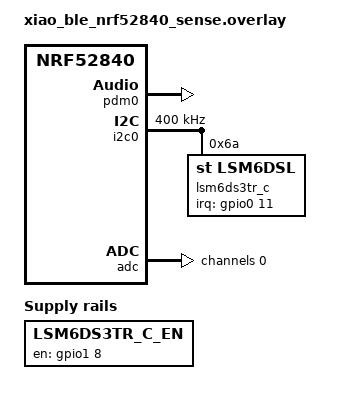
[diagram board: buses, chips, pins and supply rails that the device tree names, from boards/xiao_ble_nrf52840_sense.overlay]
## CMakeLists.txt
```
# USB Microphone for XIAO nRF52840 Sense
cmake_minimum_required(VERSION 3.20.0)

find_package(Zephyr REQUIRED HINTS $ENV{ZEPHYR_BASE})
project(usb_mic_xiao)

target_sources(app PRIVATE src/main.c)
```

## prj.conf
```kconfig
CONFIG_STDOUT_CONSOLE=y
CONFIG_CONSOLE=y
CONFIG_UART_CONSOLE=y
CONFIG_SERIAL=y
CONFIG_PRINTK=y
CONFIG_EARLY_CONSOLE=y
CONFIG_CBPRINTF_FP_SUPPORT=y

#USB related configs
CONFIG_USB_DEVICE_STACK=y
CONFIG_DEPRECATION_TEST=y
CONFIG_USB_DEVICE_PRODUCT="VapeLogger Audio"
CONFIG_USB_DEVICE_VID=0x239A
CONFIG_USB_DEVICE_PID=0x810E
CONFIG_USB_DEVICE_MANUFACTURER="VapeLogger"
CONFIG_USB_DEVICE_INITIALIZE_AT_BOOT=y
CONFIG_USB_DEVICE_STACK_NEXT=n

#LOG subsystem related configs
CONFIG_LOG=y
CONFIG_USB_DRIVER_LOG_LEVEL_ERR=y
CONFIG_USB_DEVICE_LOG_LEVEL_ERR=y

#net buf options
CONFIG_NET_BUF=y

#USB audio related configs
CONFIG_USB_DEVICE_AUDIO=y

#Audio and DMIC configs
CONFIG_AUDIO=y
CONFIG_AUDIO_DMIC=y

# ADC for coil monitoring
CONFIG_ADC=y
CONFIG_ADC_NRFX_SAADC=y

# IMU sensor (LSM6DS3)
CONFIG_I2C=y
CONFIG_SENSOR=y
CONFIG_LSM6DSL=y
```

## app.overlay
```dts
&zephyr_udc0 {
        mic_0 {
                compatible = "usb-audio-mic";
                feature-mute;
                channel-l;
                sample-rate-hz = <48000>;
                resolution = <16>;
        };
};
```

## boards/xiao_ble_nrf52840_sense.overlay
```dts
/*
 * Device tree overlay for XIAO nRF52840 Sense
 * Enables PDM microphone for USB audio, ADC for coil monitoring, and IMU
 */

#include "xiao_ble-pinctrl.dtsi"
#include <zephyr/dt-bindings/i2c/i2c.h>
#include <zephyr/dt-bindings/gpio/nordic-nrf-gpio.h>

/ {
	lsm6ds3tr-c-en {
		compatible = "regulator-fixed-sync", "regulator-fixed";
		enable-gpios = <&gpio1 8 (NRF_GPIO_DRIVE_S0H1 | GPIO_ACTIVE_HIGH)>;
		regulator-name = "LSM6DS3TR_C_EN";
		regulator-boot-on;
		startup-delay-us = <3000>;
	};
};

&pdm0 {
	status = "okay";
	pinctrl-0 = <&pdm0_default>;
	pinctrl-1 = <&pdm0_sleep>;
	pinctrl-names = "default", "sleep";
};

&i2c0 {
	compatible = "nordic,nrf-twim";
	status = "okay";
	pinctrl-0 = <&i2c0_default>;
	pinctrl-1 = <&i2c0_sleep>;
	pinctrl-names = "default", "sleep";
	clock-frequency = <I2C_BITRATE_FAST>;

	lsm6ds3tr_c: lsm6ds3tr-c@6a {
		compatible = "st,lsm6dsl";
		reg = <0x6a>;
		irq-gpios = <&gpio0 11 GPIO_ACTIVE_HIGH>;
		status = "okay";
	};
};

&zephyr_udc0 {
	mic_0 {
		compatible = "usb-audio-mic";
		feature-mute;
		channel-l;
		sample-rate-hz = <48000>;
		resolution = <16>;
	};
};

/* Enable ADC for coil monitoring on A0 */
&adc {
	status = "okay";
	#address-cells = <1>;
	#size-cells = <0>;

	channel@0 {
		reg = <0>;
		zephyr,gain = "ADC_GAIN_1_6";
		zephyr,reference = "ADC_REF_INTERNAL";
		zephyr,acquisition-time = <ADC_ACQ_TIME_DEFAULT>;
		zephyr,input-positive = <NRF_SAADC_AIN0>; /* A0 = P0.02 */
		zephyr,resolution = <12>;
	};
};
```

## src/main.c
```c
/*
 * VapeLogger for XIAO nRF52840 Sense
 * Streams PDM microphone data as USB Audio device
 * Streams ADC coil data via serial UART
 */

#include <zephyr/kernel.h>
#include <zephyr/device.h>
#include <zephyr/audio/dmic.h>
#include <zephyr/usb/usb_device.h>
#include <zephyr/usb/class/usb_audio.h>
#include <zephyr/usb/usb_ch9.h>
#include <zephyr/logging/log.h>
#include <zephyr/drivers/adc.h>
#include <zephyr/drivers/sensor.h>
#include <zephyr/sys/printk.h>

LOG_MODULE_REGISTER(vapelogger, LOG_LEVEL_INF);

#define AUDIO_SAMPLE_RATE 48000
#define SAMPLE_BIT_WIDTH 16
#define BYTES_PER_SAMPLE sizeof(int16_t)
#define BLOCK_SIZE (BYTES_PER_SAMPLE * (AUDIO_SAMPLE_RATE / 100))
#define BLOCK_COUNT 8

K_MEM_SLAB_DEFINE_STATIC(audio_mem_slab, BLOCK_SIZE, BLOCK_COUNT, 4);

static const struct device *dmic_dev;
static const struct device *mic_usb_dev;
static bool audio_running = false;
static bool usb_enabled = false;

/* ADC device for coil monitoring */
static const struct device *adc_dev = NULL;
static struct adc_channel_cfg adc_cfg = {
	.gain = ADC_GAIN_1_6,
	.reference = ADC_REF_INTERNAL,
	.acquisition_time = ADC_ACQ_TIME_DEFAULT,
	.channel_id = 0,
	.input_positive = SAADC_CH_PSELP_PSELP_AnalogInput0, /* A0 */
};
static int16_t adc_sample_buffer;
static struct adc_sequence adc_seq = {
	.channels = BIT(0),
	.buffer = &adc_sample_buffer,
	.buffer_size = sizeof(adc_sample_buffer),
	.resolution = 12,
};

/* IMU device for motion tracking */
static const struct device *imu_dev = NULL;

/* Latest sensor values for combined output */
static uint16_t latest_coil_adc = 0;
static int32_t latest_accel[3] = {0, 0, 0};
static int32_t latest_gyro[3] = {0, 0, 0};
static K_MUTEX_DEFINE(sensor_mutex);

/* DMIC configuration */
static struct pcm_stream_cfg stream = {
	.pcm_width = SAMPLE_BIT_WIDTH,
	.mem_slab = &audio_mem_slab,
};

static struct dmic_cfg cfg = {
	.io = {
		.min_pdm_clk_freq = 1000000,
		.max_pdm_clk_freq = 3500000,
		.min_pdm_clk_dc = 40,
		.max_pdm_clk_dc = 60,
	},
	.streams = &stream,
	.channel = {
		.req_num_streams = 1,
	},
};

/* USB device status callback */
static void usb_status_cb(enum usb_dc_status_code status, const uint8_t *param)
{
	printk("USB status: %d\n", status);
	LOG_INF("USB status changed: %d", status);
	
	switch (status) {
	case USB_DC_CONNECTED:
		printk("USB connected\n");
		break;
	case USB_DC_CONFIGURED:
		printk("USB configured - waiting for host to request audio\n");
		LOG_INF("USB configured - device ready");
		break;
	case USB_DC_DISCONNECTED:
		printk("USB disconnected\n");
		usb_enabled = false;
		if (audio_running && dmic_dev) {
			dmic_trigger(dmic_dev, DMIC_TRIGGER_STOP);
			audio_running = false;
		}
		break;
	default:
		break;
	}
}

/* USB Audio callbacks */
static void data_request(const struct device *dev)
{
	if (!usb_enabled) {
		printk("Host requesting audio - starting DMIC\n");
		LOG_INF("USB audio stream enabled by host");
		
		/* Start DMIC streaming now that host wants data */
		if (dmic_dev && !audio_running) {
			int ret = dmic_trigger(dmic_dev, DMIC_TRIGGER_START);
			if (ret == 0) {
				audio_running = true;
				printk("DMIC started successfully\n");
				LOG_INF("Audio streaming started");
			} else {
				printk("DMIC start failed: %d\n", ret);
				LOG_ERR("DMIC trigger failed: %d", ret);
			}
		}
		usb_enabled = true;
	}
}

static void feature_update(const struct device *dev,
                           const struct usb_audio_fu_evt *evt)
{
	LOG_INF("Control selector %d for channel %d updated",
		evt->cs, evt->channel);
}

static const struct usb_audio_ops mic_ops = {
	.data_request_cb = data_request,
	.feature_update_cb = feature_update,
};

/* Thread to read PDM data and send to USB */
static void audio_thread(void *arg1, void *arg2, void *arg3)
{
	ARG_UNUSED(arg1);
	ARG_UNUSED(arg2);
	ARG_UNUSED(arg3);

	void *buffer;
	uint32_t size;
	int ret;
	uint32_t count = 0;

	while (1) {
		if (!audio_running || !usb_enabled) {
			k_sleep(K_MSEC(100));
			continue;
		}

		ret = dmic_read(dmic_dev, 0, &buffer, &size, 1000);
		if (ret < 0) {
			if (ret != -EAGAIN) {
				LOG_ERR("DMIC read failed: %d", ret);
			}
			k_sleep(K_MSEC(1));
			continue;
		}

		if ((count++ % 100) == 0) {
			LOG_INF("Read %d bytes from DMIC, sending to USB", size);
		}

		ret = usb_audio_send(mic_usb_dev, buffer, size);
		if (ret < 0) {
			if ((count % 100) == 0) {
				LOG_ERR("USB audio send failed: %d", ret);
			}
		}

		k_mem_slab_free(&audio_mem_slab, buffer);
	}
}

K_THREAD_DEFINE(audio_tid, 2048, audio_thread, NULL, NULL, NULL, 7, 0, 0);

/* Thread to read ADC and update shared state */
static void adc_thread(void *arg1, void *arg2, void *arg3)
{
	ARG_UNUSED(arg1);
	ARG_UNUSED(arg2);
	ARG_UNUSED(arg3);

	uint16_t adc_val;
	int ret;

	/* Wait for system to stabilize and ADC to be initialized */
	k_sleep(K_SECONDS(3));

	/* Check if ADC was initialized */
	if (adc_dev == NULL) {
		LOG_WRN("ADC not initialized, thread exiting");
		return;
	}

	LOG_INF("ADC monitoring started");

	while (1) {
		ret = adc_read(adc_dev, &adc_seq);
		if (ret < 0) {
			LOG_ERR("ADC read failed: %d", ret);
		} else {
			adc_val = (uint16_t)adc_sample_buffer;
			k_mutex_lock(&sensor_mutex, K_FOREVER);
			latest_coil_adc = adc_val;
			k_mutex_unlock(&sensor_mutex);
		}

		k_sleep(K_MSEC(50));  /* Match IMU rate */
	}
}

K_THREAD_DEFINE(adc_tid, 1024, adc_thread, NULL, NULL, NULL, 8, 0, 0);

/* Thread to read IMU and output combined data to serial */
static void imu_thread(void *arg1, void *arg2, void *arg3)
{
	ARG_UNUSED(arg1);
	ARG_UNUSED(arg2);
	ARG_UNUSED(arg3);

	struct sensor_value accel_x, accel_y, accel_z;
	struct sensor_value gyro_x, gyro_y, gyro_z;
	int ret;

	/* Wait for system to stabilize and IMU to be initialized */
	k_sleep(K_SECONDS(3));

	/* Check if IMU was initialized */
	if (imu_dev == NULL) {
		LOG_WRN("IMU not initialized, thread exiting");
		return;
	}

	LOG_INF("IMU monitoring started");

	while (1) {
		ret = sensor_sample_fetch(imu_dev);
		if (ret < 0) {
			LOG_ERR("IMU fetch failed: %d", ret);
			k_sleep(K_MSEC(100));
			continue;
		}

		/* Read accelerometer (m/s²) */
		sensor_channel_get(imu_dev, SENSOR_CHAN_ACCEL_X, &accel_x);
		sensor_channel_get(imu_dev, SENSOR_CHAN_ACCEL_Y, &accel_y);
		sensor_channel_get(imu_dev, SENSOR_CHAN_ACCEL_Z, &accel_z);

		/* Read gyroscope (rad/s) */
		sensor_channel_get(imu_dev, SENSOR_CHAN_GYRO_X, &gyro_x);
		sensor_channel_get(imu_dev, SENSOR_CHAN_GYRO_Y, &gyro_y);
		sensor_channel_get(imu_dev, SENSOR_CHAN_GYRO_Z, &gyro_z);

		/* Convert to integers (multiply by 100 to keep 2 decimal places) */
		int32_t ax = (accel_x.val1 * 100) + (accel_x.val2 / 10000);
		int32_t ay = (accel_y.val1 * 100) + (accel_y.val2 / 10000);
		int32_t az = (accel_z.val1 * 100) + (accel_z.val2 / 10000);
		int32_t gx = (gyro_x.val1 * 100) + (gyro_x.val2 / 10000);
		int32_t gy = (gyro_y.val1 * 100) + (gyro_y.val2 / 10000);
		int32_t gz = (gyro_z.val1 * 100) + (gyro_z.val2 / 10000);

		/* Get latest coil ADC value */
		uint16_t coil_adc;
		k_mutex_lock(&sensor_mutex, K_FOREVER);
		coil_adc = latest_coil_adc;
		k_mutex_unlock(&sensor_mutex);

		/* Print combined data in single line: COIL,IMU_DATA */
		/* Format: DATA:coil,ax,ay,az,gx,gy,gz */
		printk("DATA:%u,%d.%02d,%d.%02d,%d.%02d,%d.%02d,%d.%02d,%d.%02d\n",
			coil_adc,
			ax/100, abs(ax%100), ay/100, abs(ay%100), az/100, abs(az%100),
			gx/100, abs(gx%100), gy/100, abs(gy%100), gz/100, abs(gz%100));

		k_sleep(K_MSEC(50));  /* 20 Hz update rate */
	}
}

K_THREAD_DEFINE(imu_tid, 1536, imu_thread, NULL, NULL, NULL, 8, 0, 0);

static int init_dmic(void)
{
	int ret;

	dmic_dev = DEVICE_DT_GET(DT_NODELABEL(pdm0));
	if (!device_is_ready(dmic_dev)) {
		LOG_ERR("DMIC device not ready");
		return -ENODEV;
	}

	cfg.channel.req_num_chan = 1;
	cfg.channel.req_chan_map_lo = dmic_build_channel_map(0, 0, PDM_CHAN_LEFT);
	cfg.streams[0].pcm_rate = AUDIO_SAMPLE_RATE;
	cfg.streams[0].block_size = BLOCK_SIZE;

	ret = dmic_configure(dmic_dev, &cfg);
	if (ret < 0) {
		LOG_ERR("DMIC configure failed: %d", ret);
		return ret;
	}

	LOG_INF("DMIC configured: %d Hz, %d-bit", AUDIO_SAMPLE_RATE, SAMPLE_BIT_WIDTH);
	return 0;
}

static int init_usb_audio(void)
{
	int ret;

	mic_usb_dev = DEVICE_DT_GET_ONE(usb_audio_mic);
	if (!device_is_ready(mic_usb_dev)) {
		LOG_ERR("USB Microphone device not ready");
		return -ENODEV;
	}

	usb_audio_register(mic_usb_dev, &mic_ops);

	ret = usb_enable(usb_status_cb);
	if (ret < 0) {
		LOG_ERR("USB enable failed: %d", ret);
		return ret;
	}

	LOG_INF("USB Audio initialized");
	return 0;
}

static int init_adc(void)
{
	int ret;

	adc_dev = DEVICE_DT_GET(DT_NODELABEL(adc));
	if (!device_is_ready(adc_dev)) {
		LOG_ERR("ADC device not ready");
		adc_dev = NULL;
		return -ENODEV;
	}

	ret = adc_channel_setup(adc_dev, &adc_cfg);
	if (ret < 0) {
		LOG_ERR("ADC channel setup failed: %d", ret);
		adc_dev = NULL;
		return ret;
	}

	LOG_INF("ADC initialized on A0");
	return 0;
}

static int init_imu(void)
{
	int ret;
	struct sensor_value odr, range;

	imu_dev = DEVICE_DT_GET(DT_NODELABEL(lsm6ds3tr_c));
	if (!device_is_ready(imu_dev)) {
		LOG_ERR("IMU device not ready");
		imu_dev = NULL;
		return -ENODEV;
	}

	/* Set accelerometer ODR to 104 Hz */
	odr.val1 = 104;
	odr.val2 = 0;
	ret = sensor_attr_set(imu_dev, SENSOR_CHAN_ACCEL_XYZ,
			      SENSOR_ATTR_SAMPLING_FREQUENCY, &odr);
	if (ret < 0) {
		LOG_WRN("Failed to set accel ODR: %d", ret);
	}

	/* Set accelerometer range to ±2g */
	range.val1 = 2;
	range.val2 = 0;
	ret = sensor_attr_set(imu_dev, SENSOR_CHAN_ACCEL_XYZ,
			      SENSOR_ATTR_FULL_SCALE, &range);
	if (ret < 0) {
		LOG_WRN("Failed to set accel range: %d", ret);
	}

	/* Set gyroscope ODR to 104 Hz */
	ret = sensor_attr_set(imu_dev, SENSOR_CHAN_GYRO_XYZ,
			      SENSOR_ATTR_SAMPLING_FREQUENCY, &odr);
	if (ret < 0) {
		LOG_WRN("Failed to set gyro ODR: %d", ret);
	}

	/* Set gyroscope range to ±250 dps */
	range.val1 = 250;
	range.val2 = 0;
	ret = sensor_attr_set(imu_dev, SENSOR_CHAN_GYRO_XYZ,
			      SENSOR_ATTR_FULL_SCALE, &range);
	if (ret < 0) {
		LOG_WRN("Failed to set gyro range: %d", ret);
	}

	LOG_INF("IMU (LSM6DS3) initialized and configured");
	printk("IMU configured: 104Hz, ±2g accel, ±250dps gyro\n");
	return 0;
}

/* Audio is now started from usb_status_cb when USB_DC_CONFIGURED */

int main(void)
{
	int ret;

	printk("\n\n=== VapeLogger Starting ===\n");
	LOG_INF("VapeLogger starting...");

	/* Small delay for USB to stabilize */
	k_sleep(K_MSEC(500));

	/* Initialize USB first for device enumeration */
	ret = init_usb_audio();
	if (ret < 0) {
		LOG_ERR("USB Audio init failed: %d", ret);
		printk("ERROR: USB init failed: %d\n", ret);
		/* Don't return - continue in degraded mode */
	} else {
		printk("USB Audio initialized OK\n");
	}

	/* Initialize DMIC */
	ret = init_dmic();
	if (ret < 0) {
		LOG_ERR("DMIC init failed: %d", ret);
		printk("ERROR: DMIC init failed: %d\n", ret);
		/* Don't return - continue without audio */
	} else {
		printk("DMIC initialized OK\n");
	}

	/* Initialize ADC (non-critical) */
	ret = init_adc();
	if (ret < 0) {
		LOG_WRN("ADC init failed: %d - continuing without ADC", ret);
		printk("WARNING: ADC init failed: %d\n", ret);
	} else {
		printk("ADC initialized OK\n");
	}

	/* Initialize IMU (non-critical) */
	ret = init_imu();
	if (ret < 0) {
		LOG_WRN("IMU init failed: %d - continuing without IMU", ret);
		printk("WARNING: IMU init failed: %d\n", ret);
	} else {
		printk("IMU initialized OK\n");
	}

	k_sleep(K_MSEC(1000));

	/* Audio will start automatically when USB host configures the device */
	printk("\n=== VapeLogger Ready ===\n");
	printk("Waiting for USB host to configure audio device...\n");
	printk("Audio will start automatically when host is ready\n");
	LOG_INF("VapeLogger ready - waiting for USB host configuration");

	/* Main loop - NEVER return from main() */
	while (1) {
		k_sleep(K_SECONDS(5));
		printk(".");  /* Heartbeat */
	}

	/* Should never reach here */
	return 0;
}
```
